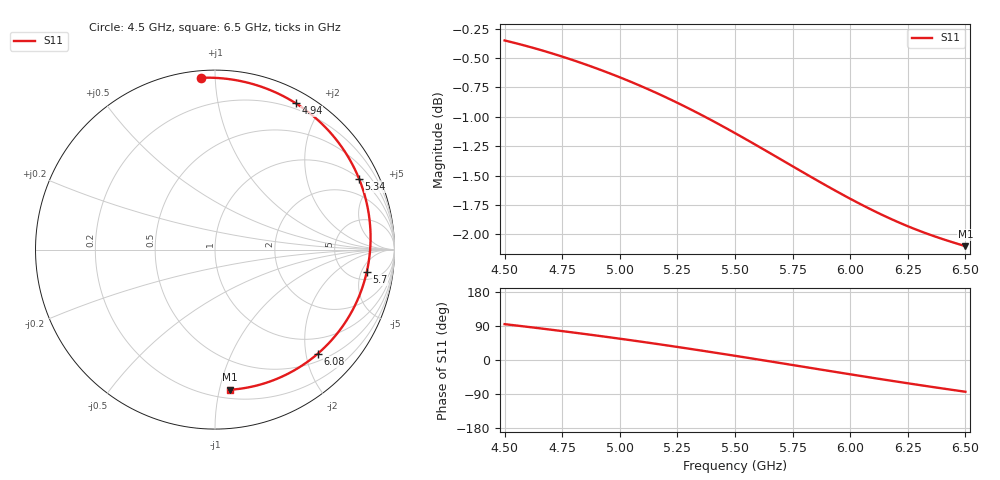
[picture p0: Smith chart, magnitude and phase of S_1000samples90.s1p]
! TOUCHSTONE file generated by CST MICROWAVE STUDIO
! Date and time: Wed Oct 26 23:14:49 2022
! Project name: L.cst
! Parameters = {Di=1.27; Epsilon_r=1.56; InnerDiameter=1.27; Length=2; Lf=10; Lg=60; OuterConductorThickness=0.2921; OuterDiameter=3.6; Wf=3; Wp=41.2; de=1.5; df=6.8; g=0.8; gx=1.88344; gy=4.1769; h=2.34; hf=1.524; px=8.30354; py=10.7647; w=9.7; wx=6.42011; wy=6.58775}
! Header version: 2018
! Port assignment regex: !\s*Touchstone port\s*([0-9]+)\s*=\s*(CST MWS port|CST DS port)\s*([0-9]+|Zmin|Zmax)\s*\(\"(.*)\"\)(\s*mode\s*([0-9]+))?.*
! Touchstone port assignment:
! Touchstone port 1 = CST MWS port 1 ("")
# GHz S DB R 50
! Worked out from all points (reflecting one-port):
!   101 points, 4.5 GHz to 6.5 GHz, reference 50 ohm
!   lowest |S11| = -2.1 dB at 6.5 GHz (marker M1), VSWR 8.31, Z = 13.2 - j53.9 ohm
!   phase of S11 starts at 95 deg and turns -178 deg over the sweep
!   S11 on the Smith chart (normalised r, x): 4.5 GHz: 0.04, +0.92; 4.94 GHz: 0.14, +1.68; 5.34 GHz: 1.03, +4.05; 5.7 GHz: 6.88, -6.33; 6.08 GHz: 0.65, -2.23; 6.5 GHz: 0.26, -1.08
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4.5  -0.35 94.6
4.58  -0.39 88.9
4.64  -0.42 84.5
4.76  -0.49 75.5
4.86  -0.56 67.6
4.94  -0.62 61.2
5  -0.66 56.2
5.06  -0.71 51.1
5.12  -0.76 46.0
5.2  -0.83 38.9
5.26  -0.89 33.5
5.34  -0.97 26.2
5.42  -1.05 18.7
5.5  -1.14 11.1
5.6  -1.25 1.4
5.7  -1.36 -8.3
5.76  -1.43 -14.2
5.82  -1.50 -20.1
5.88  -1.57 -26.0
5.94  -1.63 -31.9
6  -1.70 -37.7
6.08  -1.78 -45.4
6.18  -1.87 -54.9
6.26  -1.94 -62.3
6.32  -1.98 -67.8
6.38  -2.03 -73.2
6.44  -2.06 -78.6
6.5  -2.10 -83.8
